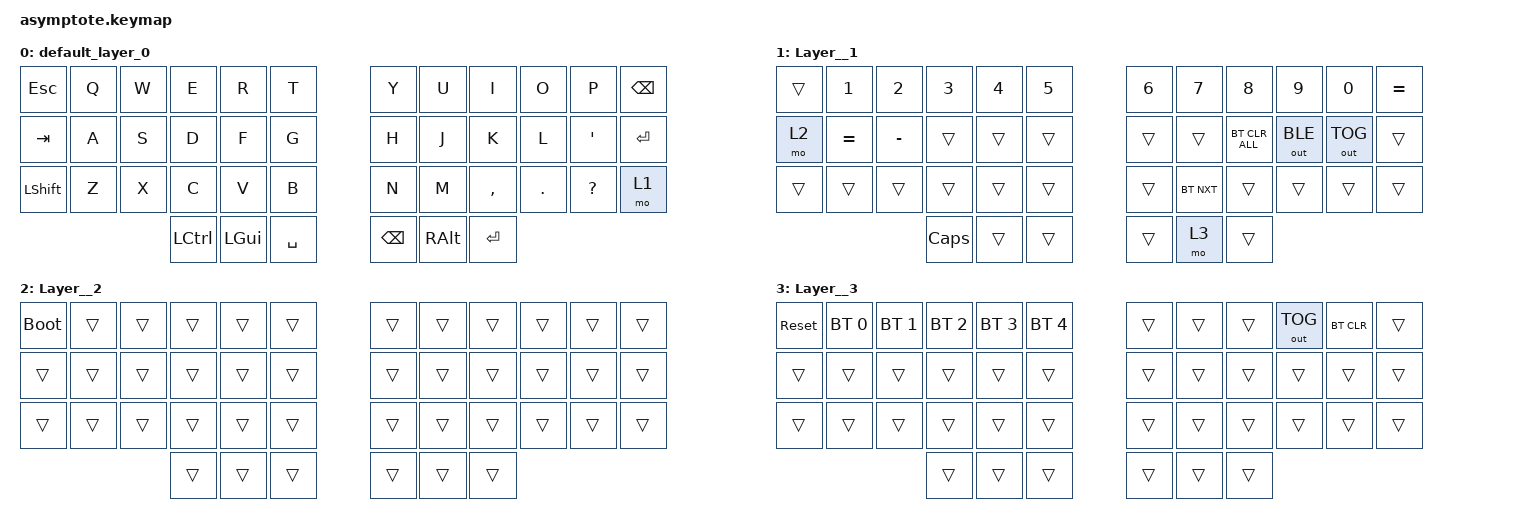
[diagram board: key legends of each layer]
/*
 * Copyright (c) 2020 The ZMK Contributors
 *
 * SPDX-License-Identifier: MIT
 */

#include <behaviors.dtsi>
#include <dt-bindings/zmk/bt.h>
#include <dt-bindings/zmk/keys.h>
#include <dt-bindings/zmk/outputs.h>

&mt { tapping-term-ms = <200>; };

&lt { quick-tap-ms = <400>; };

/ {
    combos {
        compatible = "zmk,combos";

        semicolon {
            bindings = <&kp SEMICOLON>;
            key-positions = <22 21>;
        };

        one {
            bindings = <&kp NUMBER_1>;
            key-positions = <1 13>;
        };

        two {
            bindings = <&kp NUMBER_2>;
            key-positions = <2 14>;
        };

        three {
            bindings = <&kp NUMBER_3>;
            key-positions = <15 3>;
        };

        four {
            bindings = <&kp NUMBER_4>;
            key-positions = <16 4>;
        };

        five {
            bindings = <&kp NUMBER_5>;
            key-positions = <17 5>;
        };

        six {
            bindings = <&kp NUMBER_6>;
            key-positions = <18 6>;
        };

        seven {
            bindings = <&kp N7>;
            key-positions = <19 7>;
        };

        eight {
            bindings = <&kp N8>;
            key-positions = <20 8>;
        };

        nine {
            bindings = <&kp N9>;
            key-positions = <21 9>;
        };

        zero {
            bindings = <&kp N0>;
            key-positions = <22 10>;
        };
    };

    keymap {
        compatible = "zmk,keymap";

        default_layer_0 {
            bindings = <
&kp ESC    &kp Q  &kp W  &kp E      &kp R     &kp T        &kp Y          &kp U          &kp I      &kp O    &kp P             &kp BSPC
&kp TAB    &kp A  &kp S  &kp D      &kp F     &kp G        &kp H          &kp J          &kp K      &kp L    &kp SINGLE_QUOTE  &kp ENTER
&kp LSHFT  &kp Z  &kp X  &kp C      &kp V     &kp B        &kp N          &kp M          &kp COMMA  &kp DOT  &kp QUESTION      &mo 1
                         &kp LCTRL  &kp LGUI  &kp SPACE    &kp BACKSPACE  &kp RIGHT_ALT  &kp ENTER
            >;
        };

        Layer__1 {
            bindings = <
&trans  &kp NUMBER_1  &kp NUMBER_2  &kp NUMBER_3  &kp NUMBER_4  &kp N5    &kp NUMBER_6  &kp N7      &kp N8          &kp N9        &kp N0        &kp EQUAL
&mo 2   &kp EQUAL     &kp MINUS     &trans        &trans        &trans    &trans        &trans      &bt BT_CLR_ALL  &out OUT_BLE  &out OUT_TOG  &trans
&trans  &trans        &trans        &trans        &trans        &trans    &trans        &bt BT_NXT  &trans          &trans        &trans        &trans
                                    &kp CAPSLOCK  &trans        &trans    &trans        &mo 3       &trans
            >;
        };

        Layer__2 {
            bindings = <
&bootloader  &trans  &trans  &trans  &trans  &trans    &trans  &trans  &trans  &trans  &trans  &trans
&trans       &trans  &trans  &trans  &trans  &trans    &trans  &trans  &trans  &trans  &trans  &trans
&trans       &trans  &trans  &trans  &trans  &trans    &trans  &trans  &trans  &trans  &trans  &trans
                             &trans  &trans  &trans    &trans  &trans  &trans
            >;
        };

        Layer__3 {
            bindings = <
&sys_reset  &bt BT_SEL 0  &bt BT_SEL 1  &bt BT_SEL 2  &bt BT_SEL 3  &bt BT_SEL 4    &trans  &trans  &trans  &out OUT_TOG  &bt BT_CLR  &trans
&trans      &trans        &trans        &trans        &trans        &trans          &trans  &trans  &trans  &trans        &trans      &trans
&trans      &trans        &trans        &trans        &trans        &trans          &trans  &trans  &trans  &trans        &trans      &trans
                                        &trans        &trans        &trans          &trans  &trans  &trans
            >;
        };
    };
};
